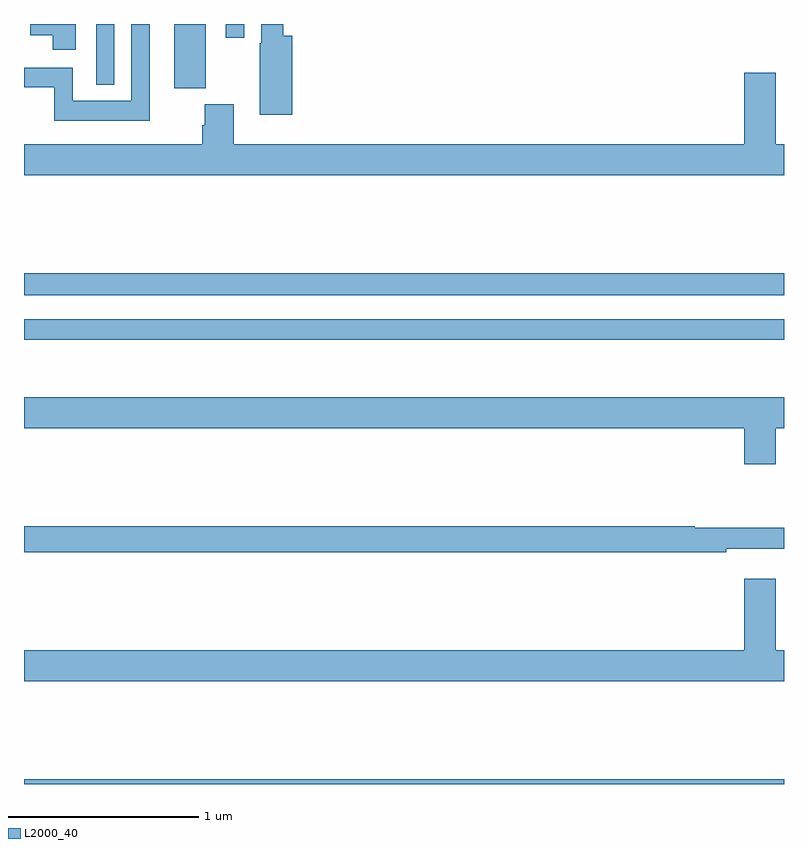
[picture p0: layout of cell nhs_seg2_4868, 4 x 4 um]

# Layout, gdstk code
import gdstk
lib = gdstk.Library(unit=1e-6, precision=1e-09)
def R(c, l, rs):  # rectangles x0, y0, x1, y1
    for r in rs: c.add(gdstk.rectangle(r[:2], r[2:], *l))
def P(c, l, *ps):  # polygons
    for p in ps: c.add(gdstk.Polygon(p, *l))
L2000_40 = (2000, 40)

nhs_seg2_4868 = lib.new_cell('nhs_seg2_4868')
R(nhs_seg2_4868, L2000_40, [(377,609.8,381,609.824), (377,612.138,381,612.246), (377,612.372,381,612.488), (377.792,613.462,377.956,613.8), (377.379,613.481,377.475,613.8), (378.063,613.728,378.159,613.8)])
P(nhs_seg2_4868, L2000_40, [(377.272,613.8),(377.033,613.8),(377.033,613.742),(377.15,613.742),(377.15,613.665),(377.272,613.665)],
  [(377.662,613.8),(377.565,613.8),(377.565,613.396),(377.256,613.396),(377.256,613.57),(377,613.57),(377,613.466),(377.159,613.466),(377.159,613.292),(377.662,613.292)],
  [(378.413,613.738),(378.365,613.738),(378.365,613.8),(378.249,613.8),(378.249,613.698),(378.242,613.698),(378.242,613.322),(378.413,613.322)],
  [(381,613.168),(380.956,613.168),(380.956,613.543),(380.792,613.543),(380.792,613.168),(378.104,613.168),(378.104,613.377),(377.951,613.377),(377.951,613.268),(377.939,613.268),(377.939,613.168),(377,613.168),(377,613.004),(381,613.004)],
  [(380.956,611.672),(381,611.672),(381,611.836),(377,611.836),(377,611.672),(380.792,611.672),(380.792,611.484),(380.956,611.484)],
  [(380.696,611.039),(381,611.039),(381,611.149),(380.531,611.149),(380.531,611.156),(377,611.156),(377,611.02),(380.696,611.02)],
  [(381,610.504),(380.956,610.504),(380.956,610.879),(380.792,610.879),(380.792,610.504),(377,610.504),(377,610.34),(381,610.34)])

lib.write_gds('nhs_seg2_4868.gds')
